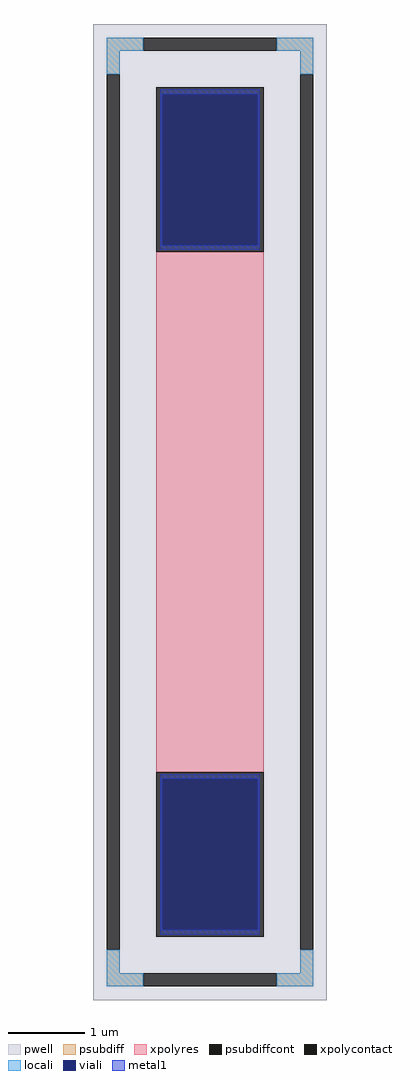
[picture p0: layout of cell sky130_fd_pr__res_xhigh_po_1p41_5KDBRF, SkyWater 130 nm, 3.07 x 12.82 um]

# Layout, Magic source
magic
tech sky130A
magscale 1 2
<< pwell >>
rect -307 -1282 307 1282
<< psubdiff >>
rect -271 1212 -175 1246
rect 175 1212 271 1246
rect -271 1150 -237 1212
rect 237 1150 271 1212
rect -271 -1212 -237 -1150
rect 237 -1212 271 -1150
rect -271 -1246 -175 -1212
rect 175 -1246 271 -1212
<< psubdiffcont >>
rect -175 1212 175 1246
rect -271 -1150 -237 1150
rect 237 -1150 271 1150
rect -175 -1246 175 -1212
<< xpolycontact >>
rect -141 684 141 1116
rect -141 -1116 141 -684
<< xpolyres >>
rect -141 -684 141 684
<< locali >>
rect -271 1212 -175 1246
rect 175 1212 271 1246
rect -271 1150 -237 1212
rect 237 1150 271 1212
rect -271 -1212 -237 -1150
rect 237 -1212 271 -1150
rect -271 -1246 -175 -1212
rect 175 -1246 271 -1212
<< viali >>
rect -125 701 125 1098
rect -125 -1098 125 -701
<< metal1 >>
rect -131 1098 131 1110
rect -131 701 -125 1098
rect 125 701 131 1098
rect -131 689 131 701
rect -131 -701 131 -689
rect -131 -1098 -125 -701
rect 125 -1098 131 -701
rect -131 -1110 131 -1098
<< properties >>
string FIXED_BBOX -254 -1229 254 1229
string gencell sky130_fd_pr__res_xhigh_po_1p41
string library sky130
string parameters w 1.410 l 7.0 m 1 nx 1 wmin 1.410 lmin 0.50 rho 2000 val 10.196k dummy 0 dw 0.0 term 188.2 sterm 0.0 caplen 0 wmax 1.410 guard 1 glc 1 grc 1 gtc 1 gbc 1 compatible {sky130_fd_pr__res_xhigh_po_0p35  sky130_fd_pr__res_xhigh_po_0p69 sky130_fd_pr__res_xhigh_po_1p41  sky130_fd_pr__res_xhigh_po_2p85 sky130_fd_pr__res_xhigh_po_5p73} snake 0 full_metal 1 n_guard 0 hv_guard 0 vias 1 viagb 0 viagt 0 viagl 0 viagr 0
<< end >>
